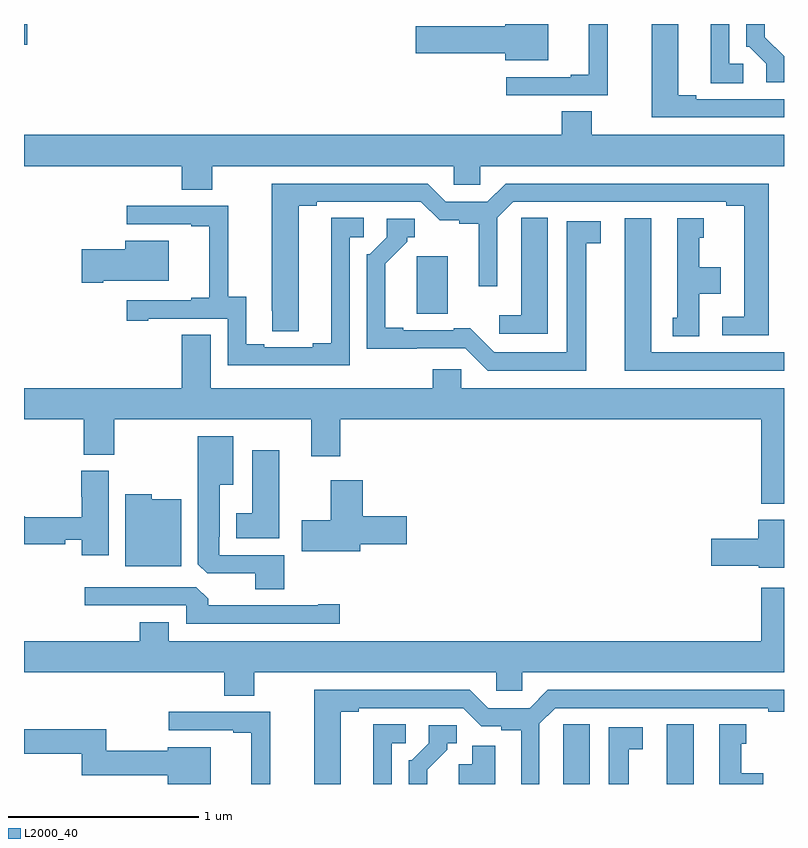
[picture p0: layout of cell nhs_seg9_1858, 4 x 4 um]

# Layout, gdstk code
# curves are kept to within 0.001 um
import gdstk
lib = gdstk.Library(unit=1e-6, precision=1e-09)
def R(c, l, rs):  # rectangles x0, y0, x1, y1
    for r in rs: c.add(gdstk.rectangle(r[:2], r[2:], *l))
def P(c, l, *ps):  # polygons
    for p in ps: c.add(gdstk.Polygon(p, *l))
L2000_40 = (2000, 40)

nhs_seg9_1858 = lib.new_cell('nhs_seg9_1858')
R(nhs_seg9_1858, L2000_40, [(218.384,1194.5,218.524,1194.814), (215,1198.39,215.017,1198.5)])
P(nhs_seg9_1858, L2000_40, [(219,1198.329),(218.899,1198.43),(218.899,1198.5),(218.802,1198.5),(218.802,1198.38),(218.817,1198.38),(218.907,1198.29),(218.907,1198.194),(219,1198.194)],
  [(218.073,1198.5),(217.973,1198.5),(217.973,1198.234),(217.877,1198.234),(217.877,1198.221),(217.539,1198.221),(217.539,1198.125),(218.073,1198.125)],
  [(219,1198.104),(218.539,1198.104),(218.539,1198.124),(218.443,1198.124),(218.443,1198.5),(218.303,1198.5),(218.303,1198.008),(219,1198.008)],
  [(217.759,1198.5),(217.532,1198.5),(217.532,1198.487),(217.062,1198.487),(217.062,1198.345),(217.532,1198.345),(217.532,1198.31),(217.759,1198.31)],
  [(218.785,1198.29),(218.712,1198.29),(218.712,1198.5),(218.615,1198.5),(218.615,1198.189),(218.785,1198.189)],
  [(215.991,1197.752),(217.263,1197.752),(217.263,1197.654),(217.401,1197.654),(217.401,1197.752),(219,1197.752),(219,1197.916),(217.989,1197.916),(217.989,1198.04),(217.829,1198.04),(217.829,1197.916),(215,1197.916),(215,1197.752),(215.831,1197.752),(215.831,1197.628),(215.991,1197.628)],
  [(218.92,1197.66),(217.535,1197.66),(217.439,1197.564),(217.221,1197.564),(217.125,1197.66),(216.305,1197.66),(216.306,1196.884),(216.445,1196.884),(216.445,1197.544),(216.541,1197.544),(216.541,1197.564),(217.089,1197.564),(217.187,1197.467),(217.29,1197.467),(217.29,1197.448),(217.394,1197.448),(217.394,1197.12),(217.491,1197.12),(217.491,1197.48),(217.575,1197.564),(218.696,1197.564),(218.696,1197.544),(218.792,1197.544),(218.792,1196.958),(218.676,1196.958),(218.676,1196.862),(218.92,1196.862)],
  [(216.714,1197.378),(216.787,1197.378),(216.787,1197.479),(216.617,1197.479),(216.617,1196.819),(216.521,1196.819),(216.521,1196.799),(216.265,1196.799),(216.265,1196.814),(216.169,1196.814),(216.169,1197.065),(216.075,1197.065),(216.075,1197.543),(215.541,1197.543),(215.541,1197.447),(215.879,1197.447),(215.879,1197.435),(215.975,1197.435),(215.975,1197.058),(215.879,1197.058),(215.879,1197.045),(215.541,1197.045),(215.541,1196.937),(215.653,1196.937),(215.653,1196.949),(216.072,1196.949),(216.072,1196.703),(216.714,1196.703)],
  [(217.756,1197.479),(217.617,1197.479),(217.617,1197.371),(217.616,1197.371),(217.616,1196.968),(217.5,1196.968),(217.5,1196.871),(217.756,1196.871)],
  [(219,1196.772),(218.302,1196.772),(218.302,1197.478),(218.162,1197.478),(218.162,1196.676),(219,1196.676)],
  [(218.554,1197.08),(218.668,1197.08),(218.668,1197.22),(218.554,1197.22),(218.554,1197.375),(218.578,1197.375),(218.578,1197.478),(218.438,1197.478),(218.438,1196.955),(218.414,1196.955),(218.414,1196.857),(218.554,1196.857)],
  [(217.96,1197.346),(218.035,1197.346),(218.035,1197.462),(217.856,1197.462),(217.856,1196.772),(217.476,1196.772),(217.348,1196.9),(217.262,1196.9),(217.262,1196.889),(216.997,1196.889),(216.997,1196.902),(216.901,1196.902),(216.901,1197.238),(217.018,1197.355),(217.018,1197.378),(217.057,1197.378),(217.057,1197.474),(216.909,1197.474),(216.909,1197.378),(216.819,1197.288),(216.804,1197.288),(216.804,1196.792),(217.323,1196.793),(217.44,1196.676),(217.96,1196.676)],
  [(215.416,1197.149),(215.761,1197.149),(215.761,1197.358),(215.534,1197.358),(215.534,1197.315),(215.304,1197.315),(215.304,1197.137),(215.416,1197.137)],
  [(217.23,1197.132),(217.231,1197.132),(217.231,1197.277),(217.067,1197.277),(217.067,1196.974),(217.23,1196.974)],
  [(219,1196.584),(217.302,1196.584),(217.302,1196.682),(217.151,1196.682),(217.151,1196.584),(215.983,1196.584),(215.983,1196.864),(215.831,1196.864),(215.831,1196.584),(215,1196.584),(215,1196.42),(215.315,1196.42),(215.315,1196.233),(215.475,1196.233),(215.475,1196.42),(216.512,1196.42),(216.512,1196.226),(216.665,1196.226),(216.665,1196.42),(218.88,1196.42),(218.88,1195.976),(219,1195.976)],
  [(216.371,1195.704),(216.027,1195.704),(216.027,1195.801),(216.031,1195.801),(216.031,1196.075),(216.1,1196.075),(216.1,1196.329),(215.915,1196.329),(215.915,1195.657),(215.964,1195.608),(216.218,1195.608),(216.218,1195.525),(216.371,1195.525)],
  [(216.343,1196.257),(216.2,1196.257),(216.2,1195.924),(216.116,1195.924),(216.116,1195.793),(216.343,1195.793)],
  [(215.446,1196.148),(215.3,1196.148),(215.3,1196.012),(215.305,1196.012),(215.305,1195.904),(215.004,1195.904),(215.004,1195.91),(215,1195.91),(215,1195.763),(215.216,1195.763),(215.216,1195.786),(215.305,1195.786),(215.305,1195.704),(215.446,1195.704)],
  [(216.769,1195.763),(217.015,1195.763),(217.015,1195.91),(216.782,1195.91),(216.782,1196.098),(216.614,1196.098),(216.614,1195.887),(216.462,1195.887),(216.462,1195.724),(216.769,1195.724)],
  [(215.827,1195.999),(215.673,1195.999),(215.673,1196.026),(215.534,1196.026),(215.534,1195.646),(215.827,1195.646)],
  [(219,1195.891),(218.864,1195.891),(218.864,1195.79),(218.616,1195.79),(218.616,1195.648),(218.868,1195.648),(218.868,1195.637),(219,1195.637)],
  [(216.661,1195.445),(216.548,1195.445),(216.548,1195.44),(215.969,1195.44),(215.969,1195.474),(215.907,1195.536),(215.319,1195.536),(215.319,1195.44),(215.853,1195.44),(215.853,1195.344),(216.661,1195.344)],
  [(216.213,1195.088),(217.485,1195.088),(217.485,1194.99),(217.623,1194.99),(217.623,1195.088),(219,1195.088),(219,1195.534),(218.88,1195.534),(218.88,1195.252),(215.761,1195.252),(215.761,1195.351),(215.609,1195.351),(215.609,1195.252),(215,1195.252),(215,1195.088),(216.053,1195.088),(216.053,1194.964),(216.213,1194.964)],
  [(216.667,1194.88),(216.763,1194.88),(216.763,1194.9),(217.311,1194.9),(217.407,1194.804),(217.512,1194.804),(217.512,1194.784),(217.616,1194.784),(217.616,1194.5),(217.713,1194.5),(217.713,1194.816),(217.797,1194.9),(218.918,1194.9),(218.918,1194.88),(219,1194.88),(219,1194.996),(217.757,1194.996),(217.661,1194.9),(217.443,1194.9),(217.347,1194.996),(216.527,1194.996),(216.527,1194.5),(216.667,1194.5)],
  [(216.297,1194.879),(215.763,1194.879),(215.763,1194.783),(216.101,1194.783),(216.101,1194.771),(216.197,1194.771),(216.197,1194.5),(216.297,1194.5)],
  [(216.936,1194.714),(217.009,1194.714),(217.009,1194.815),(216.839,1194.815),(216.839,1194.5),(216.936,1194.5)],
  [(217.978,1194.815),(217.839,1194.815),(217.839,1194.707),(217.838,1194.707),(217.838,1194.5),(217.978,1194.5)],
  [(218.89,1194.556),(218.776,1194.556),(218.776,1194.711),(218.8,1194.711),(218.8,1194.814),(218.66,1194.814),(218.66,1194.5),(218.89,1194.5)],
  [(217.123,1194.574),(217.228,1194.679),(217.228,1194.714),(217.278,1194.714),(217.278,1194.81),(217.131,1194.81),(217.131,1194.714),(217.041,1194.624),(217.026,1194.624),(217.026,1194.5),(217.123,1194.5)],
  [(218.182,1194.682),(218.257,1194.682),(218.257,1194.798),(218.078,1194.798),(218.078,1194.5),(218.182,1194.5)],
  [(215.983,1194.694),(215.756,1194.694),(215.756,1194.676),(215.434,1194.676),(215.434,1194.787),(215,1194.787),(215,1194.658),(215.305,1194.658),(215.305,1194.547),(215.756,1194.547),(215.756,1194.5),(215.983,1194.5)],
  [(217.48,1194.702),(217.358,1194.702),(217.358,1194.604),(217.289,1194.604),(217.289,1194.5),(217.48,1194.5)])

lib.write_gds('nhs_seg9_1858.gds')
